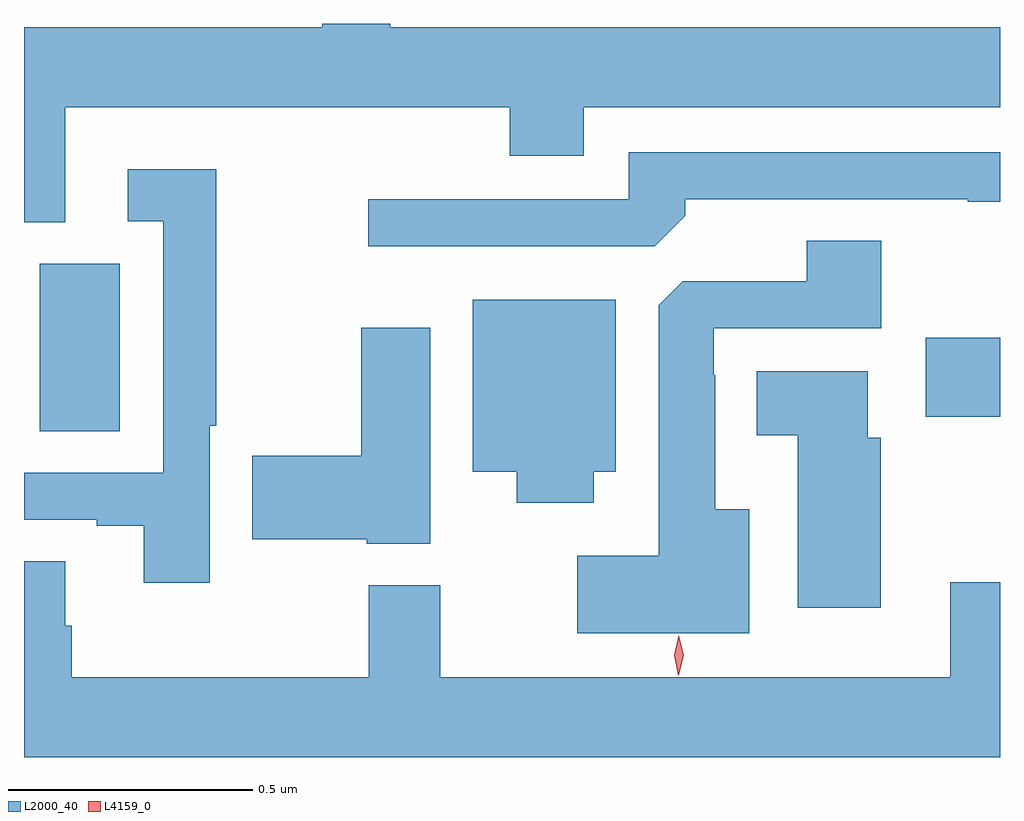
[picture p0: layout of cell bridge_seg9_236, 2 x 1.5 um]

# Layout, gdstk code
import gdstk
lib = gdstk.Library(unit=1e-6, precision=1e-09)
def R(c, l, rs):  # rectangles x0, y0, x1, y1
    for r in rs: c.add(gdstk.rectangle(r[:2], r[2:], *l))
def P(c, l, *ps):  # polygons
    for p in ps: c.add(gdstk.Polygon(p, *l))
L2000_40 = (2000, 40)
L4159_0 = (4159, 0)

bridge_seg9_236 = lib.new_cell('bridge_seg9_236')
R(bridge_seg9_236, L2000_40, [(182.234,1191.76,182.398,1192.104), (184.05,1191.79,184.202,1191.952)])
P(bridge_seg9_236, L2000_40, [(182.287,1192.424),(183.197,1192.424),(183.197,1192.325),(183.349,1192.325),(183.349,1192.424),(184.202,1192.424),(184.202,1192.588),(182.953,1192.588),(182.953,1192.596),(182.813,1192.596),(182.813,1192.588),(182.202,1192.588),(182.202,1192.189),(182.287,1192.189)],
  [(183.557,1192.202),(183.557,1192.236),(184.136,1192.236),(184.136,1192.231),(184.202,1192.231),(184.202,1192.332),(183.441,1192.332),(183.441,1192.236),(182.907,1192.236),(182.907,1192.14),(183.495,1192.14)],
  [(182.583,1191.772),(182.596,1191.772),(182.596,1192.297),(182.415,1192.297),(182.415,1192.191),(182.487,1192.191),(182.487,1191.675),(182.202,1191.675),(182.202,1191.579),(182.351,1191.579),(182.351,1191.567),(182.447,1191.567),(182.447,1191.45),(182.583,1191.45)],
  [(183.688,1191.601),(183.619,1191.601),(183.619,1191.875),(183.615,1191.875),(183.615,1191.972),(183.959,1191.972),(183.959,1192.151),(183.806,1192.151),(183.806,1192.068),(183.552,1192.068),(183.503,1192.019),(183.503,1191.505),(183.336,1191.505),(183.336,1191.347),(183.688,1191.347)],
  [(183.37,1191.677),(183.415,1191.677),(183.415,1192.03),(183.122,1192.03),(183.122,1191.677),(183.212,1191.677),(183.212,1191.614),(183.37,1191.614)],
  [(183.034,1191.973),(182.893,1191.973),(182.893,1191.71),(182.67,1191.71),(182.67,1191.539),(182.904,1191.539),(182.904,1191.53),(183.034,1191.53)],
  [(183.958,1191.747),(183.931,1191.747),(183.931,1191.883),(183.704,1191.883),(183.704,1191.752),(183.788,1191.752),(183.788,1191.399),(183.958,1191.399)],
  [(184.202,1191.451),(184.1,1191.451),(184.1,1191.256),(183.055,1191.256),(183.055,1191.445),(182.908,1191.445),(182.908,1191.256),(182.3,1191.256),(182.3,1191.362),(182.287,1191.362),(182.287,1191.494),(182.202,1191.494),(182.202,1191.092),(184.202,1191.092)])
P(bridge_seg9_236, L4159_0, [(183.544,1191.26),(183.543,1191.261),(183.534,1191.301),(183.544,1191.342),(183.544,1191.342),(183.544,1191.342),(183.554,1191.301),(183.544,1191.261)])

lib.write_gds('bridge_seg9_236.gds')
